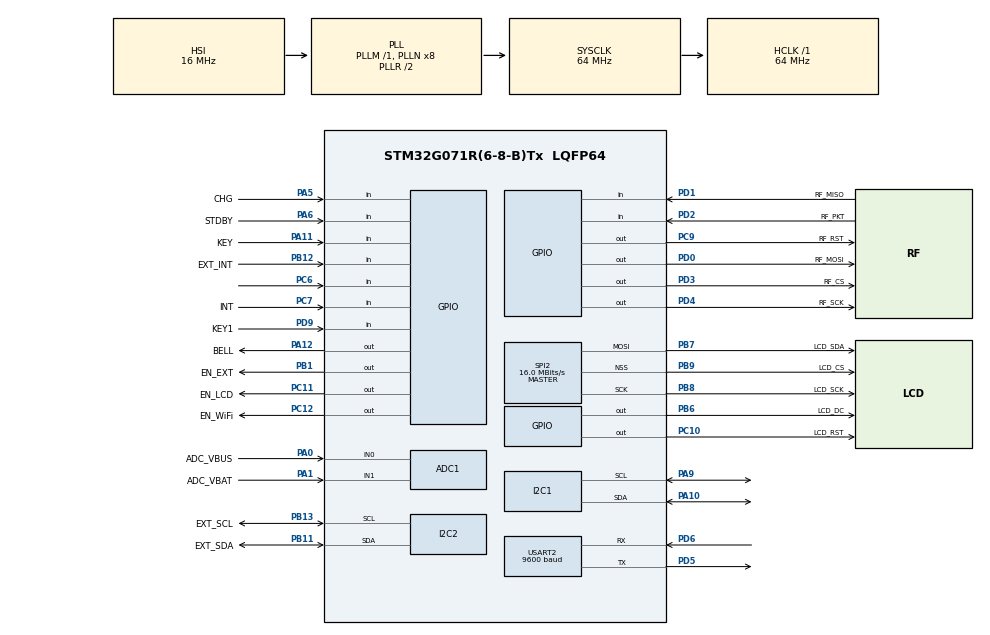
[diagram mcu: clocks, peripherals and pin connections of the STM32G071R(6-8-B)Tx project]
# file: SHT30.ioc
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ADC1.Channel-4\#ChannelRegularConversion=ADC_CHANNEL_0
ADC1.Channel-5\#ChannelRegularConversion=ADC_CHANNEL_1
ADC1.ContinuousConvMode=ENABLE
ADC1.DMAContinuousRequests=ENABLE
ADC1.NbrOfConversion=2
ADC1.NbrOfConversionFlag=1
ADC1.Rank-4\#ChannelRegularConversion=1
ADC1.Rank-5\#ChannelRegularConversion=2
ADC1.SamplingTime-4\#ChannelRegularConversion=ADC_SAMPLINGTIME_COMMON_1
ADC1.SamplingTime-5\#ChannelRegularConversion=ADC_SAMPLINGTIME_COMMON_1
ADC1.SamplingTimeCommon1=ADC_SAMPLETIME_160CYCLES_5
ADC1.SamplingTimeCommon2=ADC_SAMPLETIME_160CYCLES_5
ADC1.ScanConvMode=ADC_SCAN_ENABLE
ADC1.SelectedChannel=ADC_CHANNEL_0|ADC_CHANNEL_1
ADC1.Sequencer=FULLY_CONFIGURABLE
ADC1.TriggerFrequencyMode=ADC_TRIGGER_FREQ_HIGH
ADC1.master=1
Dma.ADC1.0.Direction=DMA_PERIPH_TO_MEMORY
Dma.ADC1.0.EventEnable=DISABLE
Dma.ADC1.0.Instance=DMA1_Channel1
Dma.ADC1.0.MemDataAlignment=DMA_MDATAALIGN_HALFWORD
Dma.ADC1.0.MemInc=DMA_MINC_ENABLE
Dma.ADC1.0.Mode=DMA_CIRCULAR
Dma.ADC1.0.PeriphDataAlignment=DMA_PDATAALIGN_HALFWORD
Dma.ADC1.0.PeriphInc=DMA_PINC_DISABLE
Dma.ADC1.0.Polarity=HAL_DMAMUX_REQ_GEN_RISING
Dma.ADC1.0.Priority=DMA_PRIORITY_LOW
Dma.ADC1.0.RequestNumber=1
Dma.ADC1.0.SignalID=NONE
Dma.ADC1.0.SyncEnable=DISABLE
Dma.ADC1.0.SyncPolarity=HAL_DMAMUX_SYNC_NO_EVENT
Dma.ADC1.0.SyncRequestNumber=1
Dma.ADC1.0.SyncSignalID=NONE
Dma.Request0=ADC1
I2C1.NoStretchMode=I2C_NOSTRETCH_DISABLE
I2C1.Timing=0x10707DBC
I2C2.Timing=0x10707DBC
Mcu.Family=STM32G0
Mcu.Name=STM32G071R(6-8-B)Tx
Mcu.Package=LQFP64
NVIC.DMA1_Channel1_IRQn=true\:0\:0\:false\:false\:true\:false\:true
NVIC.USART2_IRQn=true\:1\:0\:true\:false\:true\:true\:true
PA0.GPIO_Label=ADC_VBUS
PA0.Mode=IN0
PA0.Signal=ADC1_IN0
PA1.GPIO_Label=ADC_VBAT
PA1.Mode=IN1
PA1.Signal=ADC1_IN1
PA10.Mode=I2C
PA10.Signal=I2C1_SDA
PA11\ [PA9].GPIO_Label=KEY
PA11\ [PA9].GPIO_PuPd=GPIO_PULLUP
PA11\ [PA9].Signal=GPIO_Input
PA12\ [PA10].GPIO_Label=BELL
PA12\ [PA10].Signal=GPIO_Output
PA13.Mode=Serial_Wire
PA13.Signal=SYS_SWDIO
PA14-BOOT0.Mode=Serial_Wire
PA14-BOOT0.Signal=SYS_SWCLK
PA5.GPIO_Label=CHG
PA5.GPIO_PuPd=GPIO_PULLUP
PA5.Signal=GPIO_Input
PA6.GPIO_Label=STDBY
PA6.GPIO_PuPd=GPIO_PULLUP
PA6.Signal=GPIO_Input
PA9.Mode=I2C
PA9.Signal=I2C1_SCL
PB1.GPIO_Label=EN_EXT
PB1.PinState=GPIO_PIN_SET
PB1.Signal=GPIO_Output
PB11.GPIO_Label=EXT_SDA
PB11.Mode=I2C
PB11.Signal=I2C2_SDA
PB12.GPIO_Label=EXT_INT
PB12.GPIO_PuPd=GPIO_PULLUP
PB12.Signal=GPIO_Input
PB13.GPIO_Label=EXT_SCL
PB13.Mode=I2C
PB13.Signal=I2C2_SCL
PB6.GPIO_Label=LCD_DC
PB6.PinState=GPIO_PIN_RESET
PB6.Signal=GPIO_Output
PB7.GPIO_Label=LCD_SDA
PB7.Mode=TX_Only_Simplex_Unidirect_Master
PB7.Signal=SPI2_MOSI
PB8.GPIO_Label=LCD_SCK
PB8.Mode=TX_Only_Simplex_Unidirect_Master
PB8.Signal=SPI2_SCK
PB9.GPIO_Label=LCD_CS
PB9.Mode=NSS_Signal_Hard_Output
PB9.Signal=SPI2_NSS
PC10.GPIO_Label=LCD_RST
PC10.PinState=GPIO_PIN_SET
PC10.Signal=GPIO_Output
PC11.GPIO_Label=EN_LCD
PC11.PinState=GPIO_PIN_SET
PC11.Signal=GPIO_Output
PC12.GPIO_Label=EN_WiFi
PC12.PinState=GPIO_PIN_SET
PC12.Signal=GPIO_Output
PC6.Signal=GPIO_Input
PC7.GPIO_Label=INT
PC7.GPIO_PuPd=GPIO_PULLUP
PC7.Signal=GPIO_Input
PC9.GPIO_Label=RF_RST
PC9.PinState=GPIO_PIN_SET
PC9.Signal=GPIO_Output
PD0.GPIO_Label=RF_MOSI
PD0.Signal=GPIO_Output
PD1.GPIO_Label=RF_MISO
PD1.GPIO_PuPd=GPIO_PULLUP
PD1.Signal=GPIO_Input
PD2.GPIO_Label=RF_PKT
PD2.GPIO_PuPd=GPIO_PULLUP
PD2.Signal=GPIO_Input
PD3.GPIO_Label=RF_CS
PD3.Signal=GPIO_Output
PD4.GPIO_Label=RF_SCK
PD4.Signal=GPIO_Output
PD5.Mode=Asynchronous
PD5.Signal=USART2_TX
PD6.Mode=Asynchronous
PD6.Signal=USART2_RX
PD9.GPIO_Label=KEY1
PD9.GPIO_PuPd=GPIO_PULLUP
PD9.Signal=GPIO_Input
ProjectManager.HeapSize=0x200
ProjectManager.StackSize=0x400
ProjectManager.TargetToolchain=MDK-ARM V5.27
RCC.ADCFreq_Value=64000000
RCC.AHBFreq_Value=64000000
RCC.CortexFreq_Value=64000000
RCC.EXTERNAL_CLOCK_VALUE=48000
RCC.HCLKFreq_Value=64000000
RCC.HSE_VALUE=8000000
RCC.HSI_VALUE=16000000
RCC.LSE_VALUE=32768
RCC.SYSCLKFreq_VALUE=64000000
RCC.SYSCLKSource=RCC_SYSCLKSOURCE_PLLCLK
RCC.VCOOutputFreq_Value=128000000
SPI2.BaudRatePrescaler=SPI_BAUDRATEPRESCALER_4
SPI2.CRCCalculation=SPI_CRCCALCULATION_DISABLE
SPI2.CalculateBaudRate=16.0 MBits/s
SPI2.DataSize=SPI_DATASIZE_8BIT
SPI2.Direction=SPI_DIRECTION_2LINES
SPI2.Mode=SPI_MODE_MASTER
SPI2.VirtualNSS=VM_NSSHARD
SPI2.VirtualType=VM_MASTER
USART2.BaudRate=9600
USART2.VirtualMode-Asynchronous=VM_ASYNC
VP_SYS_VS_DBSignals.Mode=DisableDeadBatterySignals
board=custom

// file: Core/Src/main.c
/* USER CODE BEGIN Header */
/**
  ******************************************************************************
  * @file           : main.c
  * @brief          : Main program body
  ******************************************************************************
  * @attention
  *
  * <h2><center>&copy; Copyright (c) 2021 STMicroelectronics.
  * All rights reserved.</center></h2>
  *
  * This software component is licensed by ST under BSD 3-Clause license,
  * the "License"; You may not use this file except in compliance with the
  * License. You may obtain a copy of the License at:
  *                        opensource.org/licenses/BSD-3-Clause
  *
  ******************************************************************************
  */
/* USER CODE END Header */
#include "main.h"
#include "adc.h"
#include "dma.h"
#include "i2c.h"
#include "spi.h"
#include "usart.h"
#include "gpio.h"

/* USER CODE BEGIN Includes */
#include "SEGGER_RTT.H"
#include "SHT30.H"
#include "WiFi.H"
#include "LCD.H"
/* USER CODE END Includes */

/* USER CODE BEGIN PV */

uint16_t ADC_Value[2];

/* USER CODE END PV */

void SystemClock_Config(void);

int main(void)
{

  /* MCU Configuration--------------------------------------------------------*/

  /* Reset of all peripherals, Initializes the Flash interface and the Systick. */
  HAL_Init();

  /* Configure the system clock */
  SystemClock_Config();

  /* Initialize all configured peripherals */
  MX_GPIO_Init();
  MX_DMA_Init();
  MX_I2C1_Init();
  MX_I2C2_Init();
  MX_SPI2_Init();
  MX_ADC1_Init();
  MX_USART2_UART_Init();
  /* USER CODE BEGIN 2 */

	SEGGER_RTT_Init();
	SEGGER_RTT_printf(0, "Start\r\n");

	SHT30_SoftReset();
	SHT30_HeaterDisabled();
	SHT30_Updata();

	wifi_protocol_init();
	HAL_GPIO_WritePin(EN_WiFi_GPIO_Port, EN_WiFi_Pin, GPIO_PIN_RESET);

	HAL_GPIO_WritePin(EN_LCD_GPIO_Port, EN_LCD_Pin, GPIO_PIN_RESET);
	LCD_Init();
	LCD_Clear(BLACK);
	LCD_Puts_ASCII16x32(0, 32*0, GREEN, BLACK, "Temp:");
	LCD_Puts_ASCII16x32(0, 32*1, GREEN, BLACK, "Humi:");
	LCD_Puts_ASCII16x32(0, 32*2, GREEN, BLACK, "Vbus:");
	LCD_Puts_ASCII16x32(0, 32*3, GREEN, BLACK, "Vbat:");

	HAL_ADC_Start_DMA(&hadc1, (uint32_t*)ADC_Value, 2);

  /* USER CODE END 2 */

  /* Infinite loop */
  /* USER CODE BEGIN WHILE */
  while (1)
  {
		wifi_uart_service();
		HAL_Delay(10);

		// 1S读取以此温湿度、刷屏
		{
			static uint16_t i = 0xFFFF;

			if (i++ >= 1*100)
			{
				i = 0;
				SHT30_Updata();
				RTT_printf(0, "Temp:%.2f Humi:%.2f\r\n", 0.01*Temperature, 0.01*Humidity);

				// 电压显示
				{
					char str[20];

					RTT_printf(0, "V1:%.3f	V2:%.3f\r\n", 6.6*ADC_Value[0]/4095, 6.6*ADC_Value[1]/4095);
					HAL_ADC_Start_DMA(&hadc1, (uint32_t*)ADC_Value, 2);
					sprintf(str, "%0.3f", 6.6*ADC_Value[0]/4095);
					LCD_Puts_ASCII16x32(16*5, 32*2, GREEN, BLACK, str);
					sprintf(str, "%0.3f", 6.6*ADC_Value[1]/4095);
					LCD_Puts_ASCII16x32(16*5, 32*3, GREEN, BLACK, str);
				}

				// 温湿度显示
				{
					char str[20];

					sprintf(str, "%0.2f", 0.01*Temperature);
					LCD_Puts_ASCII16x32(16*5, 0, GREEN, BLACK, str);
					sprintf(str, "%0.2f", 0.01*Humidity);
					LCD_Puts_ASCII16x32(16*5, 32, GREEN, BLACK, str);
				}

				// 60S 上传一次数据
				{
					static uint16_t j = 0xFFFF;
					if (j++ >= 60)
					{
						j = 0;
						all_data_update();
					}
				}

			}
		}

    /* USER CODE END WHILE */

  }
}

void SystemClock_Config(void)
{
  RCC_OscInitTypeDef RCC_OscInitStruct = {0};
  RCC_ClkInitTypeDef RCC_ClkInitStruct = {0};
  RCC_PeriphCLKInitTypeDef PeriphClkInit = {0};

  /** Configure the main internal regulator output voltage
  */
  HAL_PWREx_ControlVoltageScaling(PWR_REGULATOR_VOLTAGE_SCALE1);
  /** Initializes the RCC Oscillators according to the specified parameters
  * in the RCC_OscInitTypeDef structure.
  */
  RCC_OscInitStruct.OscillatorType = RCC_OSCILLATORTYPE_HSI;
  RCC_OscInitStruct.HSIState = RCC_HSI_ON;
  RCC_OscInitStruct.HSIDiv = RCC_HSI_DIV1;
  RCC_OscInitStruct.HSICalibrationValue = RCC_HSICALIBRATION_DEFAULT;
  RCC_OscInitStruct.PLL.PLLState = RCC_PLL_ON;
  RCC_OscInitStruct.PLL.PLLSource = RCC_PLLSOURCE_HSI;
  RCC_OscInitStruct.PLL.PLLM = RCC_PLLM_DIV1;
  RCC_OscInitStruct.PLL.PLLN = 8;
  RCC_OscInitStruct.PLL.PLLP = RCC_PLLP_DIV2;
  RCC_OscInitStruct.PLL.PLLQ = RCC_PLLQ_DIV2;
  RCC_OscInitStruct.PLL.PLLR = RCC_PLLR_DIV2;
  if (HAL_RCC_OscConfig(&RCC_OscInitStruct) != HAL_OK)
  {
    Error_Handler();
  }
  /** Initializes the CPU, AHB and APB buses clocks
  */
  RCC_ClkInitStruct.ClockType = RCC_CLOCKTYPE_HCLK|RCC_CLOCKTYPE_SYSCLK
                              |RCC_CLOCKTYPE_PCLK1;
  RCC_ClkInitStruct.SYSCLKSource = RCC_SYSCLKSOURCE_PLLCLK;
  RCC_ClkInitStruct.AHBCLKDivider = RCC_SYSCLK_DIV1;
  RCC_ClkInitStruct.APB1CLKDivider = RCC_HCLK_DIV1;

  if (HAL_RCC_ClockConfig(&RCC_ClkInitStruct, FLASH_LATENCY_2) != HAL_OK)
  {
    Error_Handler();
  }
  /** Initializes the peripherals clocks
  */
  PeriphClkInit.PeriphClockSelection = RCC_PERIPHCLK_USART2|RCC_PERIPHCLK_I2C1
                              |RCC_PERIPHCLK_ADC;
  PeriphClkInit.Usart2ClockSelection = RCC_USART2CLKSOURCE_PCLK1;
  PeriphClkInit.I2c1ClockSelection = RCC_I2C1CLKSOURCE_PCLK1;
  PeriphClkInit.AdcClockSelection = RCC_ADCCLKSOURCE_SYSCLK;
  if (HAL_RCCEx_PeriphCLKConfig(&PeriphClkInit) != HAL_OK)
  {
    Error_Handler();
  }
}

void Error_Handler(void)
{
  __disable_irq();
  while (1)
  {
  }
}

/************************ (C) COPYRIGHT STMicroelectronics *****END OF FILE****/
